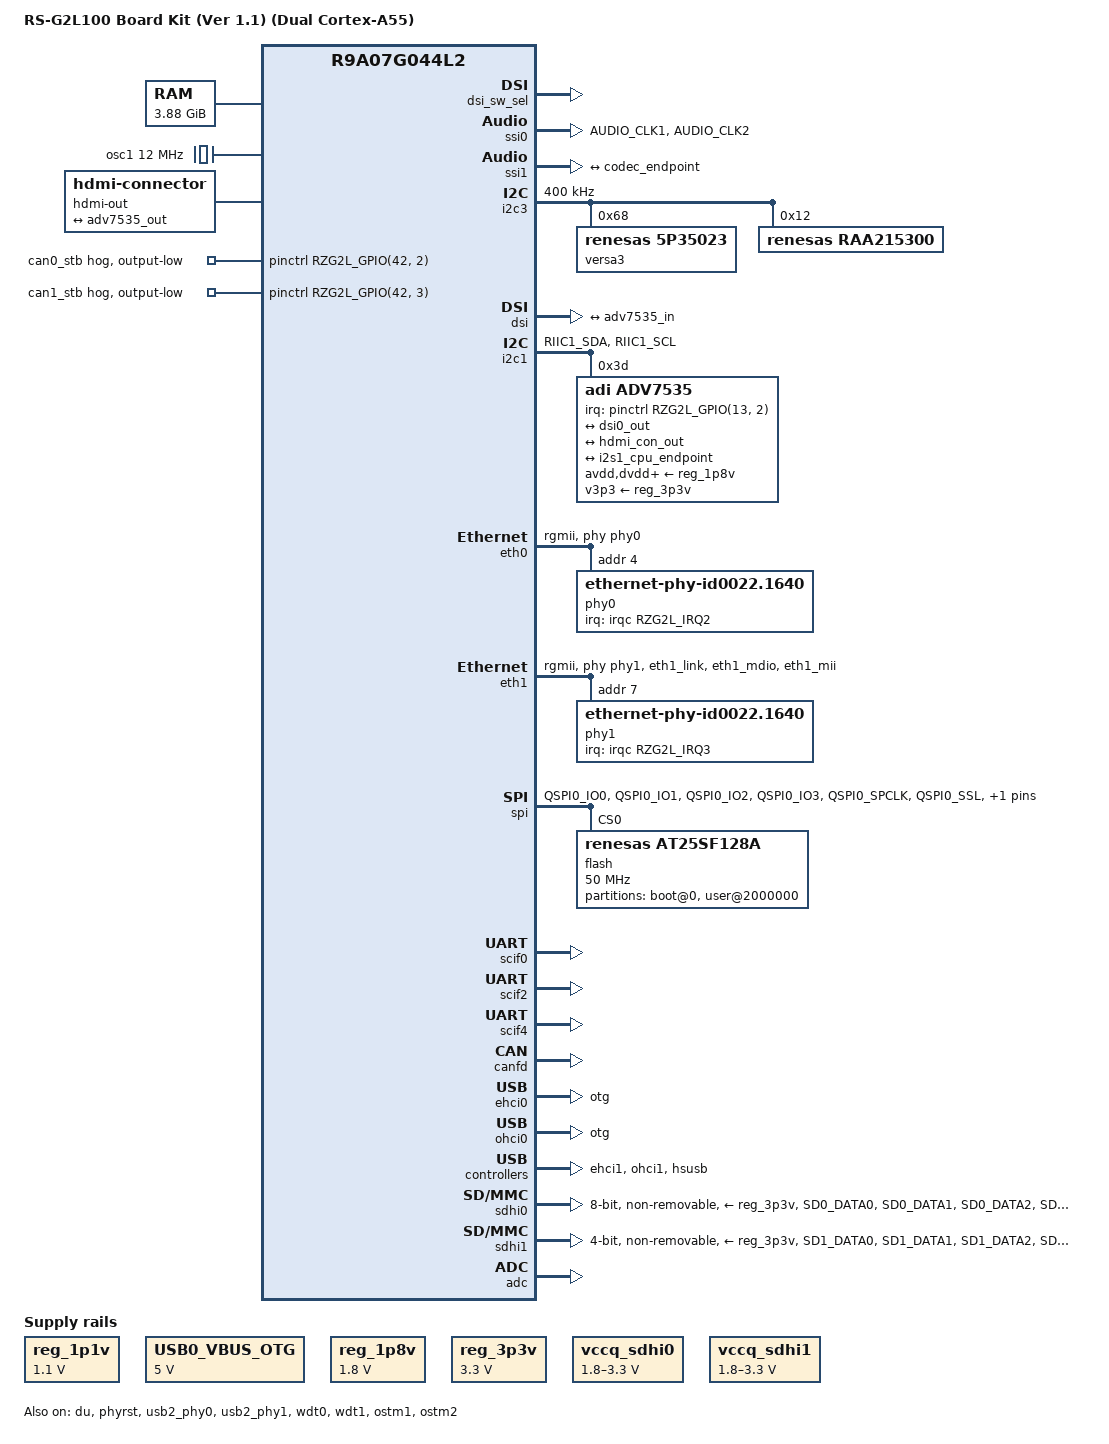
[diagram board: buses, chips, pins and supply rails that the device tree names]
// SPDX-License-Identifier: (GPL-2.0-only OR BSD-2-Clause)
/*
 * Device Tree Source for the RS-G2L100 Board Kit
 *
 * Copyright (C) 2025 Renesas Electronics Corp.
 */

/dts-v1/;

#include "r9a07g044l2.dtsi"
#include <dt-bindings/gpio/gpio.h>
#include <dt-bindings/interrupt-controller/irqc-rzg2l.h>
#include <dt-bindings/pinctrl/rzg2l-pinctrl.h>

/ {
    /* Basic property board */
    model = "RS-G2L100 Board Kit (Ver 1.1) (Dual Cortex-A55)";
    compatible = "rs-g2l100", "renesas,r9a07g044l2-smarc", "renesas,r9a07g044l2";

    /* boot setup */
    chosen {
        bootargs = "ignore_loglevel rw root=/dev/nfs ip=on";
        stdout-path = "serial0:115200n8";
    };

    /* Aliases */
    aliases {
        serial0 = &scif0;
        serial2 = &scif2;
        serial4 = &scif4;
        i2c0 = &i2c0;
        i2c1 = &i2c1;
        i2c3 = &i2c3;
        ethernet0 = &eth0;
        ethernet1 = &eth1;
        mmc0 = &sdhi0;
        mmc1 = &sdhi1;
    };

    /* memory */
    memory@48000000 {
        device_type = "memory";
        /* Reserve 128MB for secure area */
        reg = <0x0 0x48000000 0x0 0xF8000000>;  /* 4GB - 128MB */
    };

    reserved-memory {
        #address-cells = <2>;
        #size-cells = <2>;
        ranges;

        global_cma: linux,cma@58000000 {
            compatible = "shared-dma-pool";
            linux,cma-default;
            reusable;
            reg = <0x0 0x58000000 0x0 0x10000000>;
        };

        mmp_reserved: linux,multimedia {
            compatible = "shared-dma-pool";
            reusable;
            reg = <0x0 0x68000000 0x0 0x8000000>;
        };
    };

    /* Clock */
    x1: x1-clock {
        compatible = "fixed-clock";
        #clock-cells = <0>;
        clock-frequency = <24000000>;
    };

    x2: x2-clock {
        compatible = "fixed-clock";
        #clock-cells = <0>;
        clock-frequency = <32768>;
    };

    osc1: cec-clock {
        compatible = "fixed-clock";
        #clock-cells = <0>;
        clock-frequency = <12000000>;
    };

    /* Regulator */
    reg_1p1v: regulator-vdd-core {
        compatible = "regulator-fixed";
        regulator-name = "fixed-1.1V";
        regulator-min-microvolt = <1100000>;
        regulator-max-microvolt = <1100000>;
        regulator-boot-on;
        regulator-always-on;
    };

    regulator-usb0-vbus-otg {
        compatible = "regulator-fixed";
        regulator-name = "USB0_VBUS_OTG";
        regulator-min-microvolt = <5000000>;
        regulator-max-microvolt = <5000000>;
    };

    reg_1p8v: regulator-1p8v {
        compatible = "regulator-fixed";
        regulator-name = "fixed-1.8V";
        regulator-min-microvolt = <1800000>;
        regulator-max-microvolt = <1800000>;
        regulator-boot-on;
        regulator-always-on;
    };

    reg_3p3v: regulator-3p3v {
        compatible = "regulator-fixed";
        regulator-name = "fixed-3.3V";
        regulator-min-microvolt = <3300000>;
        regulator-max-microvolt = <3300000>;
        regulator-boot-on;
        regulator-always-on;
    };

    vccq_sdhi0: regulator-vccq-sdhi0 {
        compatible = "regulator-gpio";
        regulator-name = "SDHI0 VccQ";
        regulator-min-microvolt = <1800000>;
        regulator-max-microvolt = <3300000>;
        states = <3300000 1>, <1800000 0>;
        regulator-boot-on;
        gpios = <&pinctrl RZG2L_GPIO(39, 0) GPIO_ACTIVE_HIGH>;
        regulator-always-on;
    };

    vccq_sdhi1: regulator-vccq-sdhi1 {
        compatible = "regulator-gpio";
        regulator-name = "SDHI1 VccQ";
        regulator-min-microvolt = <1800000>;
        regulator-max-microvolt = <3300000>;
        gpios-states = <1>;
        gpios = <&pinctrl RZG2L_GPIO(39, 2) GPIO_ACTIVE_HIGH>;
        states = <3300000 1>, <1800000 0>;
    };

    /* Audio */
    snd_rzg2l: sound {
        compatible = "simple-audio-card";

        ssi_link: simple-audio-card,dai-link@0 {
            format = "i2s";
            bitclock-master = <&cpu_dai0>;
            frame-master = <&cpu_dai0>;
            mclk-fs = <256>;

            cpu_dai0: cpu {
                sound-dai = <&ssi0>;
            };

            codec {
                sound-dai = <&da7212>;
                clocks = <&versa3 1>;
            };
        };
    };

    sound_card {
        compatible = "audio-graph-card";
        label = "HDMI-Audio";
        dais = <&i2s1_port>;
    };

    /* Video/Display */
    hdmi-out {
        compatible = "hdmi-connector";
        type = "a";

        port {
            hdmi_con_out: endpoint {
                remote-endpoint = <&adv7535_out>;
            };
        };
    };

    /* Multimedia */
    mmngr {
        compatible = "renesas,mmngr";
        memory-region = <&mmp_reserved>;
    };

    mmngrbuf {
        compatible = "renesas,mmngrbuf";
    };

    vspm_if {
        compatible = "renesas,vspm_if";
    };
};

/* Pinctrl Configuration - Grouped by Function */
&pinctrl {
    adc_pins: adc {
        pinmux = <RZG2L_PORT_PINMUX(9, 0, 2)>; /* ADC_TRG */
    };

    /* Serial Communication */
    scif0_pins: scif0 {
        pinmux = <RZG2L_PORT_PINMUX(38, 0, 1)>, /* TxD */
             <RZG2L_PORT_PINMUX(38, 1, 1)>;    /* RxD */
    };

    scif2_pins: scif2 {
        pinmux = <RZG2L_PORT_PINMUX(48, 0, 1)>, /* TxD */
             <RZG2L_PORT_PINMUX(48, 1, 1)>, /* RxD */
             <RZG2L_PORT_PINMUX(48, 3, 1)>, /* CTS# */
             <RZG2L_PORT_PINMUX(48, 4, 1)>; /* RTS# */
    };

    scif4_pins: scif4 {
        pinmux = <RZG2L_PORT_PINMUX(2, 0, 5)>, /* TxD */
             <RZG2L_PORT_PINMUX(2, 1, 5)>; /* RxD */
    };

    /* I2C */
    i2c0_pins: i2c0 {
        pins = "RIIC0_SDA", "RIIC0_SCL";
        input-enable;
    };

    i2c1_pins: i2c1 {
        pins = "RIIC1_SDA", "RIIC1_SCL";
        input-enable;
    };

    i2c3_pins: i2c3 {
        pinmux = <RZG2L_PORT_PINMUX(18, 0, 3)>, /* SDA */
             <RZG2L_PORT_PINMUX(18, 1, 3)>; /* SCL */
    };

    /* SPI */
    spi1_pins: spi1 {
        pinmux = <RZG2L_PORT_PINMUX(44, 0, 1)>, /* CK */
             <RZG2L_PORT_PINMUX(44, 1, 1)>, /* MOSI */
             <RZG2L_PORT_PINMUX(44, 2, 1)>, /* MISO */
             <RZG2L_PORT_PINMUX(44, 3, 1)>; /* SSL */
    };

    qspi0_pins: qspi0 {
        qspi0-data {
            pins = "QSPI0_IO0", "QSPI0_IO1", "QSPI0_IO2", "QSPI0_IO3";
            power-source = <1800>;
        };
        qspi0-ctrl {
            pins = "QSPI0_SPCLK", "QSPI0_SSL", "QSPI_RESET#";
            power-source = <1800>;
        };
    };

    /* Ethernet */
    eth0_pins: eth0 {
        pinmux = <RZG2L_PORT_PINMUX(20, 0, 1)>, /* ET0_TXC */
             <RZG2L_PORT_PINMUX(20, 1, 1)>, /* ET0_TX_CTL */
             <RZG2L_PORT_PINMUX(20, 2, 1)>, /* ET0_TXD0 */
             <RZG2L_PORT_PINMUX(21, 0, 1)>, /* ET0_TXD1 */
             <RZG2L_PORT_PINMUX(21, 1, 1)>, /* ET0_TXD2 */
             <RZG2L_PORT_PINMUX(22, 0, 1)>, /* ET0_TXD3 */
             <RZG2L_PORT_PINMUX(22, 1, 1)>, /* ET0_TX_ERR */
             <RZG2L_PORT_PINMUX(23, 0, 1)>, /* ET0_TXD3 */
             <RZG2L_PORT_PINMUX(23, 1, 1)>, /* ET0_TX_ERR */
             <RZG2L_PORT_PINMUX(24, 0, 1)>, /* ET0_RXC */
             <RZG2L_PORT_PINMUX(24, 1, 1)>, /* ET0_RX_CTL */
             <RZG2L_PORT_PINMUX(25, 0, 1)>, /* ET0_RXD0 */
             <RZG2L_PORT_PINMUX(25, 1, 1)>, /* ET0_RXD1 */
             <RZG2L_PORT_PINMUX(26, 0, 1)>, /* ET0_RXD2 */
             <RZG2L_PORT_PINMUX(26, 1, 1)>, /* ET0_RXD3 */
             <RZG2L_PORT_PINMUX(27, 0, 1)>, /* ET0_RX_ERR */
             <RZG2L_PORT_PINMUX(27, 1, 1)>, /* ET0_MDC */
             <RZG2L_PORT_PINMUX(28, 0, 1)>, /* ET0_MDIO */
             <RZG2L_PORT_PINMUX(28, 1, 1)>, /* ET0_LINKSTA */
             <RZG2L_PORT_PINMUX(1, 0, 1)>;  /* IRQ0 */
    };

    eth1_pins: eth1 {
        groups = "eth1_link", "eth1_mdio", "eth1_mii";
        function = "eth1";
        pinmux = <RZG2L_PORT_PINMUX(29, 0, 1)>, /* ET1_TXC */
             <RZG2L_PORT_PINMUX(29, 1, 1)>, /* ET1_TX_CTL */
             <RZG2L_PORT_PINMUX(30, 0, 1)>, /* ET1_TXD0 */
             <RZG2L_PORT_PINMUX(30, 1, 1)>, /* ET1_TXD1 */
             <RZG2L_PORT_PINMUX(31, 0, 1)>, /* ET1_TXD2 */
             <RZG2L_PORT_PINMUX(31, 1, 1)>, /* ET1_TXD3 */
             <RZG2L_PORT_PINMUX(32, 0, 1)>, /* ET1_TX_ERR */
             <RZG2L_PORT_PINMUX(32, 1, 1)>, /* ET1_TX_COL */
             <RZG2L_PORT_PINMUX(33, 0, 1)>, /* ET1_TX_CRS */
             <RZG2L_PORT_PINMUX(33, 1, 1)>, /* ET1_RXC */
             <RZG2L_PORT_PINMUX(34, 0, 1)>, /* ET1_RX_CTL */
             <RZG2L_PORT_PINMUX(34, 1, 1)>, /* ET1_RXD0 */
             <RZG2L_PORT_PINMUX(35, 0, 1)>, /* ET1_RXD1 */
             <RZG2L_PORT_PINMUX(35, 1, 1)>, /* ET1_RXD2 */
             <RZG2L_PORT_PINMUX(36, 0, 1)>, /* ET1_RXD3 */
             <RZG2L_PORT_PINMUX(36, 1, 1)>, /* ET1_RX_ER */
             <RZG2L_PORT_PINMUX(37, 0, 1)>, /* ET1_MDC */
             <RZG2L_PORT_PINMUX(37, 1, 1)>, /* ET1_MDIO */
             <RZG2L_PORT_PINMUX(37, 2, 1)>, /* ET1_LINKSTA */
             <RZG2L_PORT_PINMUX(1, 1, 1)>;  /* IRQ1 */
    };

    /* Audio */
    ssi0_pins: ssi0 {
        pinmux = <RZG2L_PORT_PINMUX(45, 0, 1)>, /* BCK */
             <RZG2L_PORT_PINMUX(45, 1, 1)>, /* RCK */
             <RZG2L_PORT_PINMUX(45, 2, 1)>, /* TXD */
             <RZG2L_PORT_PINMUX(45, 3, 1)>; /* RXD */
    };

    ssi1_pins: ssi1 {
        pinmux = <RZG2L_PORT_PINMUX(46, 0, 1)>, /* BCK */
             <RZG2L_PORT_PINMUX(46, 1, 1)>, /* RCK */
             <RZG2L_PORT_PINMUX(46, 2, 1)>, /* TXD */
             <RZG2L_PORT_PINMUX(46, 3, 1)>; /* RXD */
    };

    sound_clk_pins: sound_clk {
        pins = "AUDIO_CLK1", "AUDIO_CLK2";
        input-enable;
    };

    /* CAN */
    can0_pins: can0 {
        pinmux = <RZG2L_PORT_PINMUX(10, 1, 2)>, /* TX */
             <RZG2L_PORT_PINMUX(11, 0, 2)>; /* RX */
    };

    can1_pins: can1 {
        pinmux = <RZG2L_PORT_PINMUX(40, 0, 3)>, /* TX */
             <RZG2L_PORT_PINMUX(40, 1, 3)>; /* RX */
    };

    /* Timer/PWM */
    mtu3_pins: mtu3 {
        mtu3-ext-clk-input-pin {
            pinmux = <RZG2L_PORT_PINMUX(48, 0, 4)>, /* MTCLKA */
                 <RZG2L_PORT_PINMUX(48, 1, 4)>; /* MTCLKB */
        };
        mtu3-pwm {
            pinmux = <RZG2L_PORT_PINMUX(44, 0, 4)>, /* MTIOC3A */
                 <RZG2L_PORT_PINMUX(44, 1, 4)>, /* MTIOC3B */
                 <RZG2L_PORT_PINMUX(44, 2, 4)>, /* MTIOC3C */
                 <RZG2L_PORT_PINMUX(44, 3, 4)>; /* MTIOC3D */
        };
    };

    gpt4_pins: gpt4 {
        pinmux = <RZG2L_PORT_PINMUX(43, 0, 2)>, /* Channel A */
             <RZG2L_PORT_PINMUX(43, 1, 2)>; /* Channel B */
    };

    /* GPIO Hog Controls */
    can0-stb-hog {
        gpio-hog;
        gpios = <RZG2L_GPIO(42, 2) GPIO_ACTIVE_HIGH>;
        output-low;
        line-name = "can0_stb";
    };

    can1-stb-hog {
        gpio-hog;
        gpios = <RZG2L_GPIO(42, 3) GPIO_ACTIVE_HIGH>;
        output-low;
        line-name = "can1_stb";
    };

    dsi_sw_sel {
        gpio-hog;
        gpios = <RZG2L_GPIO(4, 1) GPIO_ACTIVE_HIGH>;
        output-low;
        line-name = "dsi_sw_sel";
        status = "okay";
    };

};

/* Audio Configuration */
&audio_clk1 {
    clock-frequency = <11289600>;
};

&audio_clk2 {
    clock-frequency = <12288000>;
};

&cpu_dai0 {
    sound-dai = <&ssi0>;
};

&ssi0 {
    pinctrl-0 = <&ssi0_pins &sound_clk_pins>;
    pinctrl-names = "default";
    status = "okay";
};

&ssi1 {
    pinctrl-0 = <&ssi1_pins>;
    pinctrl-names = "default";
    status = "okay";

    i2s1_port: port {
        i2s1_cpu_endpoint: endpoint {
            remote-endpoint = <&codec_endpoint>;
            dai-format = "i2s";
            bitclock-master = <&i2s1_cpu_endpoint>;
            frame-master = <&i2s1_cpu_endpoint>;
        };
    };
};

&i2c3 {
    pinctrl-0 = <&i2c3_pins>;
    pinctrl-names = "default";
    clock-frequency = <400000>;
    status = "okay";

    da7212: codec@1a {
        compatible = "dlg,da7212";
        #sound-dai-cells = <0>;
        reg = <0x1a>;
        status = "disabled";

        /* Power supplies */
        VDDA-supply = <&reg_1p8v>;
        VDDSP-supply = <&reg_1p8v>;
        VDDMIC-supply = <&reg_1p8v>;
        VDDIO-supply = <&reg_1p8v>;

        /* Clock configuration */
        clocks = <&versa3 1>;
        clock-names = "mclk";

        /* DA7212 specific configuration */
        dlg,micbias1-lvl = <2500>; /* 2.5V */
        dlg,micbias2-lvl = <2500>;
        dlg,dmic-data-sel = "lrise_rfall";
        dlg,dmic-samplephase = "between_clkedge";
        dlg,dmic-clkrate = <3000000>;

    };


    versa3: clock-generator@68 {
        compatible = "renesas,5p35023";
        reg = <0x68>;
        #clock-cells = <1>;
        clocks = <&x1>;

        renesas,settings = [
            80 00 11 19 4c 02 23 7f 83 19 08 a9 5f 25 24 bf
            00 14 7a e1 00 00 00 00 01 55 59 bb 3f 30 90 b6
            80 b0 45 c4 95
        ];

        assigned-clocks = <&versa3 0>, <&versa3 1>,
                  <&versa3 2>, <&versa3 3>,
                  <&versa3 4>, <&versa3 5>;
        assigned-clock-rates = <24000000>, <11289600>,
                       <11289600>, <12000000>,
                       <25000000>, <12288000>;
    };
};

/* Video/Display Configuration */
&du {
    status = "okay";

    ports {
        #address-cells = <1>;
        #size-cells = <0>;

        port@0 {
            reg = <0>;
            du_out_rgb: endpoint {
            };
        };

        port@1 {
            reg = <1>;
        };
    };
};

&dsi {
    status = "okay";
    ports {
        port@0 {
            reg = <0>;
        };

        port@1 {
            dsi0_out: endpoint {
                data-lanes = <1 2 3 4>;
                remote-endpoint = <&adv7535_in>;
            };
        };
    };
};

&i2c1 {
    pinctrl-0 = <&i2c1_pins>;
    pinctrl-names = "default";
    status = "okay";

    adv7535: hdmi@3d {
        compatible = "adi,adv7535";
        reg = <0x3d>;

        avdd-supply = <&reg_1p8v>;
        dvdd-supply = <&reg_1p8v>;
        pvdd-supply = <&reg_1p8v>;
        a2vdd-supply = <&reg_1p8v>;
        v3p3-supply = <&reg_3p3v>;
        v1p2-supply = <&reg_1p8v>;

        interrupt-parent = <&pinctrl>;
        interrupts = <RZG2L_GPIO(13, 2) IRQ_TYPE_EDGE_FALLING>;

        adi,dsi-lanes = <4>;
        #sound-dai-cells = <0>;

        ports {
            #address-cells = <1>;
            #size-cells = <0>;

            port@0 {
                reg = <0>;
                adv7535_in: endpoint {
                    remote-endpoint = <&dsi0_out>;
                };
            };

            port@1 {
                reg = <1>;
                adv7535_out: endpoint {
                    remote-endpoint = <&hdmi_con_out>;
                };
            };

            port@2 {
                reg = <2>;
                codec_endpoint: endpoint {
                    remote-endpoint = <&i2s1_cpu_endpoint>;
                };
            };
        };
    };
};

/* Ethernet Configuration */
&eth0 {
    pinctrl-0 = <&eth0_pins>;
    pinctrl-names = "default";
    phy-handle = <&phy0>;
    phy-mode = "rgmii";
    status = "okay";

    phy0: ethernet-phy@7 {
        compatible = "ethernet-phy-id0022.1640",
                 "ethernet-phy-ieee802.3-c22";
        reg = <4>;
        interrupt-parent = <&irqc>;
        interrupts = <RZG2L_IRQ2 IRQ_TYPE_LEVEL_LOW>;
        rxc-skew-psec = <2400>;
        txc-skew-psec = <2400>;
        rxdv-skew-psec = <0>;
        txen-skew-psec = <0>;
        rxd0-skew-psec = <0>;
        rxd1-skew-psec = <0>;
        rxd2-skew-psec = <0>;
        rxd3-skew-psec = <0>;
        txd0-skew-psec = <0>;
        txd1-skew-psec = <0>;
        txd2-skew-psec = <0>;
        txd3-skew-psec = <0>;
    };
};

&eth1 {
    pinctrl-0 = <&eth1_pins>;
    pinctrl-names = "default";
    phy-handle = <&phy1>;
    phy-mode = "rgmii";
    status = "okay";

    phy1: ethernet-phy@7 {
        compatible = "ethernet-phy-id0022.1640",
                 "ethernet-phy-ieee802.3-c22";
        reg = <7>;
        interrupt-parent = <&irqc>;
        interrupts = <RZG2L_IRQ3 IRQ_TYPE_LEVEL_LOW>;
        rxc-skew-psec = <2400>;
        txc-skew-psec = <2400>;
        rxdv-skew-psec = <0>;
        txen-skew-psec = <0>;
        rxd0-skew-psec = <0>;
        rxd1-skew-psec = <0>;
        rxd2-skew-psec = <0>;
        rxd3-skew-psec = <0>;
        txd0-skew-psec = <0>;
        txd1-skew-psec = <0>;
        txd2-skew-psec = <0>;
        txd3-skew-psec = <0>;
    };
};

/* Flash Memory Configuration */
&spi {
    pinctrl-0 = <&qspi0_pins>;
    pinctrl-names = "default";
    status = "okay";

    flash@0 {
        compatible = "renesas,at25sf128a", "jedec,spi-nor";
        reg = <0>;
        m25p,fast-read;
        spi-max-frequency = <50000000>;
        spi-rx-bus-width = <4>;
        spi-tx-bus-width = <4>;

        partitions {
            compatible = "fixed-partitions";
            #address-cells = <1>;
            #size-cells = <1>;

            boot@0 {
                reg = <0x00000000 0x2000000>;
                read-only;
            };
            user@2000000 {
                reg = <0x2000000 0x2000000>;
            };
        };
    };
};

/* Serial Communication */
&scif0 {
    pinctrl-0 = <&scif0_pins>;
    pinctrl-names = "default";
    status = "okay";
};

&scif2 {
    pinctrl-0 = <&scif2_pins>;
    pinctrl-names = "default";
    status = "okay";
};

&scif4 {
    pinctrl-0 = <&scif4_pins>;
    pinctrl-names = "default";
    status = "okay";
};

/* CAN Configuration */
&canfd {
    pinctrl-0 = <&can0_pins>, <&can1_pins>;
    pinctrl-names = "default";
    status = "okay";

    /* Default set as Classical CAN(CAN 2.0) mode, remove to enable CAN FD mode */
    renesas,no-can-fd;

    /* CAN0 on */
    channel0 {
        status = "okay";
    };

    /* CAN1 on */
    channel1 {
        status = "okay";
    };
};

/* USB Configuration */
&ehci0 {
    memory-region = <&global_cma>;
    dr_mode = "otg";
    status = "okay";
};

&ohci0 {
    memory-region = <&global_cma>;
    dr_mode = "otg";
    status = "okay";
};

&ehci1 {
    memory-region = <&global_cma>;
    status = "okay";
};

&ohci1 {
    memory-region = <&global_cma>;
    status = "okay";
};

&hsusb {
    status = "okay";
};

&phyrst {
    status = "okay";
};

&usb2_phy0 {
    status = "okay";
};

&usb2_phy1 {
    status = "okay";
};

/* System Components */
&gpu {
    mali-supply = <&reg_1p1v>;
};

&wdt0 {
    status = "okay";
    timeout-sec = <60>;
};

&wdt1 {
    status = "okay";
    timeout-sec = <60>;
};

&ostm1 {
    status = "okay";
};

&ostm2 {
    status = "okay";
};

&extal_clk {
    clock-frequency = <24000000>;
};

/* Power Management */
&i2c3 {
    raa215300: pmic@12 {
        compatible = "renesas,raa215300";
        reg = <0x12>, <0x6f>;
        reg-names = "main", "rtc";
        clocks = <&x2>;
        clock-names = "xin";
    };
};

/* eMMC Configuration */
&pinctrl {
    /* Slot 0 emmc */
    sdhi0_emmc_pins: sd0emmc {
        sd0_emmc_data {
            pins = "SD0_DATA0", "SD0_DATA1", "SD0_DATA2", "SD0_DATA3",
                   "SD0_DATA4", "SD0_DATA5", "SD0_DATA6", "SD0_DATA7";
            power-source = <1800>;
        };
        sd0_emmc_ctrl {
            pins = "SD0_CLK", "SD0_CMD";
            power-source = <1800>;
        };
        sd0_emmc_rst {
            pins = "SD0_RST#";
            power-source = <1800>;
        };
    };
};

&sdhi0 {
    pinctrl-0 = <&sdhi0_emmc_pins>;
    pinctrl-1 = <&sdhi0_emmc_pins>;
    pinctrl-names = "default", "state_uhs";

    vmmc-supply = <&reg_3p3v>;
    vqmmc-supply = <&reg_1p8v>;
    bus-width = <8>;
    mmc-hs200-1_8v;
    non-removable;
    fixed-emmc-driver-type = <1>;
    status = "okay";
};

/* SD Card Configuration */
&pinctrl {
    /* Slot 1 sdcard */
    sdhi1_pins: sd1 {
        sd1_data {
            pins = "SD1_DATA0", "SD1_DATA1", "SD1_DATA2", "SD1_DATA3";
            power-source = <3300>;
        };
        sd1_ctrl {
            pins = "SD1_CLK", "SD1_CMD";
            power-source = <3300>;
        };
        sd1_mux {
            pinmux = <RZG2L_PORT_PINMUX(19, 0, 1)>;
        };
    };
};

&sdhi1 {
    pinctrl-0 = <&sdhi1_pins>;
    pinctrl-names = "default";

    vmmc-supply = <&reg_3p3v>;
    vqmmc-supply = <&reg_3p3v>;
    bus-width = <4>;
    status = "okay";

    no-1-8-v;
    no-mmc;
    non-removable;
    keep-power-in-suspend;
};

/* ADC */
&adc {
    pinctrl-0 = <&adc_pins>;
    pinctrl-names = "default";
    status = "okay";

    /delete-node/ channel@6;
    /delete-node/ channel@7;
};

